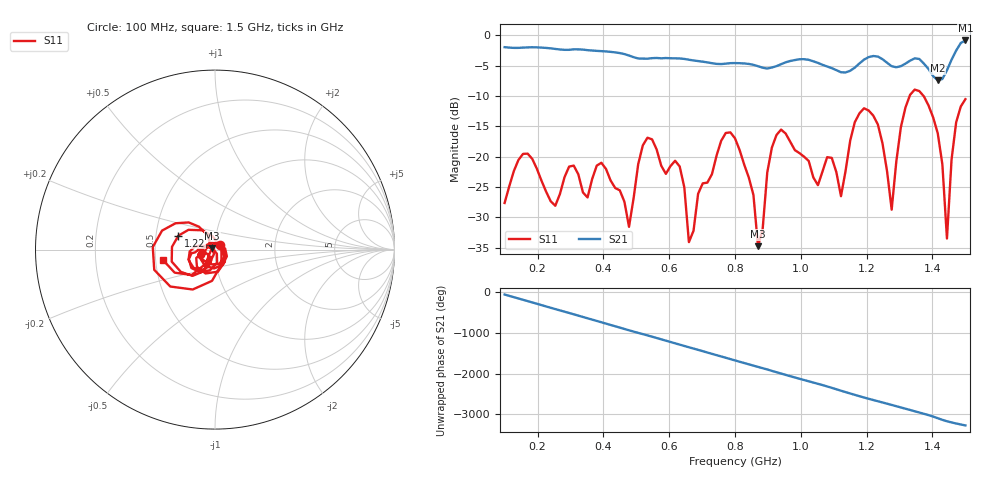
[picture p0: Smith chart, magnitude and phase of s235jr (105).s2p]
! NanoVNA-App
! Date: 2025-09-26 09:45:36
! Start: 100MHz Stop: 1,5GHz Points: 101
! S-Parameter data: F S11 S21 S12 S22
# Hz S RI R 50
!  Frequency  S11_Real  S11_Imag  S21_Real  S21_Imag  S12_Real  S12_Imag  S22_Real  S22_Imag
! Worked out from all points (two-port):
!   101 points, 100 MHz to 1.5 GHz, reference 50 ohm
!   highest |S21| = -0.85 dB at 1.5 GHz (marker M1); lowest = -7.4 dB at 1.416 GHz (marker M2)
!   |S21| within 3 dB of the highest: start of sweep to 527.2 MHz; 534.7 MHz to 637.5 MHz (102.8 MHz wide, 17.5 % of centre)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
!   lowest |S11| = -34.8 dB at 870 MHz (marker M3), VSWR 1.04, Z = 48.5 + j0.946 ohm
!   |S11| at or under -10 dB: start of sweep to 1.331 GHz; 1.373 GHz to end of sweep
!   S12 and S22 are empty: the file has one direction only
!   S11 on the Smith chart (normalised r, x): 100 MHz: 1.06, +0.06; 1.22 GHz: 0.65, +0.11; 1.5 GHz: 0.55, -0.07
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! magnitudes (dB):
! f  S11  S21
! 100 MHz  -27.6  -2.0
! 156 MHz  -19.6  -2.0
! 338 MHz  -25.9  -2.4
! 394 MHz  -21.0  -2.6
! 478 MHz  -31.6  -3.3
! 520 MHz  -18.1  -3.8
! 576 MHz  -21.5  -3.8
! 632 MHz  -21.6  -3.8
! 660 MHz  -34.1  -4.0
! 800 MHz  -17.0  -4.6
! 870 MHz  -34.8  -5.1
! 926 MHz  -16.4  -5.1
! 1.038 GHz  -23.4  -4.3
! 1.122 GHz  -26.5  -6.1
! 1.164 GHz  -14.3  -5.3
! 1.22 GHz  -13.2  -3.4
! 1.276 GHz  -28.8  -5.1
! 1.332 GHz  -9.8  -4.2
! 1.416 GHz  -16.2  -7.4
! 1.444 GHz  -33.5  -5.8
! 1.472 GHz  -14.3  -2.5
! 1.5 GHz  -10.5  -0.8
